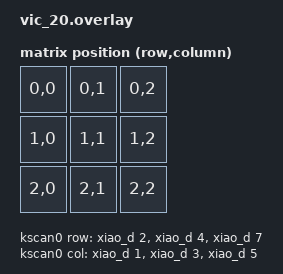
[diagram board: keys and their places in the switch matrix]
#include <dt-bindings/zmk/matrix_transform.h>

// numpad.overlay
/ {
    chosen {
        zmk,kscan = &kscan0;
        zmk,matrix_transform = &default_transform;
    };

    kscan0: kscan_0 {
        compatible = "zmk,kscan-gpio-matrix";
        label = "KSCAN";
        diode-direction = "row2col";

        col-gpios
    		= <&xiao_d 1 (GPIO_ACTIVE_HIGH | GPIO_PULL_DOWN)>
    		, <&xiao_d 3 (GPIO_ACTIVE_HIGH | GPIO_PULL_DOWN)>
    	 	, <&xiao_d 5 (GPIO_ACTIVE_HIGH | GPIO_PULL_DOWN)>
            ;

        row-gpios
		= <&xiao_d 2 (GPIO_ACTIVE_HIGH | GPIO_PULL_DOWN)>
		, <&xiao_d 4 (GPIO_ACTIVE_HIGH | GPIO_PULL_DOWN)>
		, <&xiao_d 7 (GPIO_ACTIVE_HIGH | GPIO_PULL_DOWN)>
            ;
    };

    default_transform: matrix_transform {
        compatible = "zmk,matrix-transform";
        rows = <3>;
        columns = <3>;

	map = <
		RC(0,0) RC(0,1) RC(0,2)
		RC(1,0) RC(1,1) RC(1,2) 
		RC(2,0) RC(2,1) RC(2,2) 
	>;
    };
};
